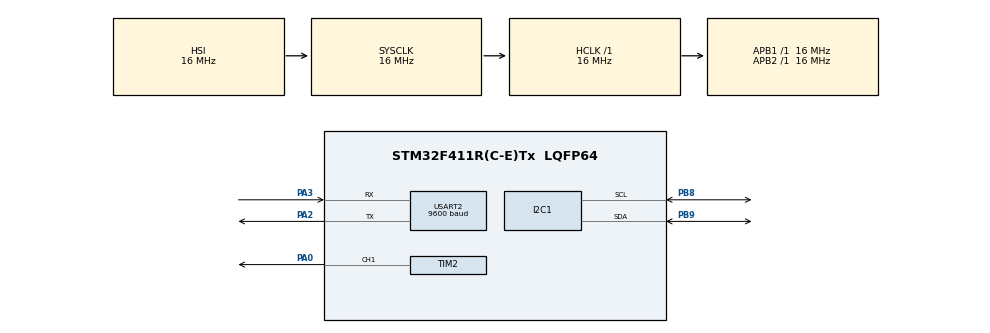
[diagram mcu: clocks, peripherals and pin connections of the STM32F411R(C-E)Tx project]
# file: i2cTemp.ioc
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Mcu.Family=STM32F4
Mcu.Name=STM32F411R(C-E)Tx
Mcu.Package=LQFP64
NVIC.PriorityGroup=NVIC_PRIORITYGROUP_4
PA0-WKUP.Signal=S_TIM2_CH1_ETR
PA2.Mode=Asynchronous
PA2.Signal=USART2_TX
PA3.Mode=Asynchronous
PA3.Signal=USART2_RX
PB8.Mode=I2C
PB8.Signal=I2C1_SCL
PB9.Mode=I2C
PB9.Signal=I2C1_SDA
ProjectManager.HeapSize=0x200
ProjectManager.StackSize=0x400
ProjectManager.TargetToolchain=STM32CubeIDE
RCC.AHBFreq_Value=16000000
RCC.APB1Freq_Value=16000000
RCC.APB2Freq_Value=16000000
RCC.CortexFreq_Value=16000000
RCC.HSE_VALUE=25000000
RCC.HSI_VALUE=16000000
RCC.LSE_VALUE=32768
RCC.SYSCLKFreq_VALUE=16000000
RCC.VCOOutputFreq_Value=192000000
SH.S_TIM2_CH1_ETR.0=TIM2_CH1,PWM Generation1 CH1
TIM2.Channel-PWM\ Generation1\ CH1=TIM_CHANNEL_1
TIM2.Period=999
TIM2.Prescaler=499
USART2.BaudRate=9600
USART2.VirtualMode=VM_ASYNC
board=custom

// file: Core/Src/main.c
/* USER CODE BEGIN Header */
/**
  ******************************************************************************
  * @file           : main.c
  * @brief          : Main program body
  ******************************************************************************
  * @attention
  *
  * Copyright (c) 2022 STMicroelectronics.
  * All rights reserved.
  *
  * This software is licensed under terms that can be found in the LICENSE file
  * in the root directory of this software component.
  * If no LICENSE file comes with this software, it is provided AS-IS.
  *
  ******************************************************************************
  */
/* USER CODE END Header */
#include "main.h"

/* USER CODE BEGIN Includes */
#include <string.h>
#include <stdio.h>
/* USER CODE END Includes */

 I2C_HandleTypeDef hi2c1;

TIM_HandleTypeDef htim2;

UART_HandleTypeDef huart2;

/* USER CODE BEGIN PV */
static const uint8_t TMP102_DIR =0x48<<1; // Address Slave
static const uint8_t REGISTRO_TEMP=0x00;  // Address Measurements

int16_t raw;			// raw data from temperature sensor TMP102
uint8_t buffert[12]; 	// data buffer

float room_temp=27; 		// ambient temperature
float temp_c; 				// temperature readings
float tmp_past=0 ; 			// previous temperature reading
float rest; 				// temperature difference
int i = 0; 					// Counter Switch Case
int div; 					// if conditions
char msg[20]; 				// used for serial output measurement readings

/* USER CODE END PV */

void SystemClock_Config(void);
static void MX_GPIO_Init(void);
static void MX_I2C1_Init(void);
static void MX_TIM2_Init(void);
static void MX_USART2_UART_Init(void);

int main(void)
{

  /* MCU Configuration--------------------------------------------------------*/

  /* Reset of all peripherals, Initializes the Flash interface and the Systick. */
  HAL_Init();

  /* Configure the system clock */
  SystemClock_Config();

  /* Initialize all configured peripherals */
  MX_GPIO_Init();
  MX_I2C1_Init();
  MX_TIM2_Init();
  MX_USART2_UART_Init();
  /* USER CODE BEGIN 2 */
  uint16_t dutyCycle = HAL_TIM_ReadCapturedValue(&htim2, TIM_CHANNEL_1);
  /* USER CODE END 2 */

  /* Infinite loop */
  /* USER CODE BEGIN WHILE */
  while (1)
  {

	  // Master-Slave instruction read
	  buffert[0]=REGISTRO_TEMP;
	  HAL_I2C_Master_Transmit(&hi2c1, TMP102_DIR, buffert, 1, HAL_MAX_DELAY);
	  //Reading of 2 bytes of the Temperature Register
	  HAL_I2C_Master_Receive(&hi2c1, TMP102_DIR, buffert, 2, HAL_MAX_DELAY);

	  //byte combination or merging
	  raw = ((int16_t)buffert[0] << 4) | (buffert[1] >> 4);

	  //Conversion with factor of 2 taking into account negative values
	  if (raw > 0x7FF){
		  raw |= 0xF000;
	  }
	  //Celsius conversion
	  temp_c = raw * 0.0625;

	  //Converting TEMP to decimal format
	  rest = temp_c - room_temp;
	  tmp_past=temp_c;
	  temp_c *= 100;

	  sprintf((char*)buffert, "%u.%02u C\r\n", ((unsigned int)temp_c /100), ((unsigned int)temp_c % 100));

	  // UART Temperature data transmission
	  HAL_UART_Transmit(&huart2,buffert,strlen((char*)buffert),HAL_MAX_DELAY);

	  // Increment condition
	  div=rest/2;
	  if(rest >= 2){
		  i=div;
	  }
	  //Decrement condition
	  if(rest<=-2){
		  --i;
	  }

	  dutyCycle = __HAL_TIM_GET_AUTORELOAD(&htim2);

	  switch(i){
		case 0:
			__HAL_TIM_SET_COMPARE(&htim2, TIM_CHANNEL_1, dutyCycle*0);
		break;
		case 1:
			__HAL_TIM_SET_COMPARE(&htim2, TIM_CHANNEL_1, dutyCycle*0.1);
		break;
		case 2:
			__HAL_TIM_SET_COMPARE(&htim2, TIM_CHANNEL_1, dutyCycle*0.2);
		break;
		case 3:
			__HAL_TIM_SET_COMPARE(&htim2, TIM_CHANNEL_1, dutyCycle*0.3);
		break;
		case 4:
			__HAL_TIM_SET_COMPARE(&htim2, TIM_CHANNEL_1, dutyCycle*0.4);
		break;
		case 5:
			__HAL_TIM_SET_COMPARE(&htim2, TIM_CHANNEL_1, dutyCycle*0.5);
		break;
		case 6:
			__HAL_TIM_SET_COMPARE(&htim2, TIM_CHANNEL_1, dutyCycle*0.6);
		break;
		case 7:
			__HAL_TIM_SET_COMPARE(&htim2, TIM_CHANNEL_1, dutyCycle*0.7);
		break;
		case 8:
			__HAL_TIM_SET_COMPARE(&htim2, TIM_CHANNEL_1, dutyCycle*0.8);
		break;
		case 9:
			__HAL_TIM_SET_COMPARE(&htim2, TIM_CHANNEL_1, dutyCycle*0.9);
		break;
		case 10:
			__HAL_TIM_SET_COMPARE(&htim2, TIM_CHANNEL_1, dutyCycle);
		break;
	}
	sprintf(msg, "%hu\r\n", i);
	HAL_UART_Transmit(&huart2, (uint8_t*)msg, strlen(msg), HAL_MAX_DELAY);

	HAL_Delay(500);

    /* USER CODE END WHILE */

  }
}

void SystemClock_Config(void)
{
  RCC_OscInitTypeDef RCC_OscInitStruct = {0};
  RCC_ClkInitTypeDef RCC_ClkInitStruct = {0};

  /** Configure the main internal regulator output voltage
  */
  __HAL_RCC_PWR_CLK_ENABLE();
  __HAL_PWR_VOLTAGESCALING_CONFIG(PWR_REGULATOR_VOLTAGE_SCALE1);

  /** Initializes the RCC Oscillators according to the specified parameters
  * in the RCC_OscInitTypeDef structure.
  */
  RCC_OscInitStruct.OscillatorType = RCC_OSCILLATORTYPE_HSI;
  RCC_OscInitStruct.HSIState = RCC_HSI_ON;
  RCC_OscInitStruct.HSICalibrationValue = RCC_HSICALIBRATION_DEFAULT;
  RCC_OscInitStruct.PLL.PLLState = RCC_PLL_NONE;
  if (HAL_RCC_OscConfig(&RCC_OscInitStruct) != HAL_OK)
  {
    Error_Handler();
  }

  /** Initializes the CPU, AHB and APB buses clocks
  */
  RCC_ClkInitStruct.ClockType = RCC_CLOCKTYPE_HCLK|RCC_CLOCKTYPE_SYSCLK
                              |RCC_CLOCKTYPE_PCLK1|RCC_CLOCKTYPE_PCLK2;
  RCC_ClkInitStruct.SYSCLKSource = RCC_SYSCLKSOURCE_HSI;
  RCC_ClkInitStruct.AHBCLKDivider = RCC_SYSCLK_DIV1;
  RCC_ClkInitStruct.APB1CLKDivider = RCC_HCLK_DIV1;
  RCC_ClkInitStruct.APB2CLKDivider = RCC_HCLK_DIV1;

  if (HAL_RCC_ClockConfig(&RCC_ClkInitStruct, FLASH_LATENCY_0) != HAL_OK)
  {
    Error_Handler();
  }
}

static void MX_I2C1_Init(void)
{

  hi2c1.Instance = I2C1;
  hi2c1.Init.ClockSpeed = 100000;
  hi2c1.Init.DutyCycle = I2C_DUTYCYCLE_2;
  hi2c1.Init.OwnAddress1 = 0;
  hi2c1.Init.AddressingMode = I2C_ADDRESSINGMODE_7BIT;
  hi2c1.Init.DualAddressMode = I2C_DUALADDRESS_DISABLE;
  hi2c1.Init.OwnAddress2 = 0;
  hi2c1.Init.GeneralCallMode = I2C_GENERALCALL_DISABLE;
  hi2c1.Init.NoStretchMode = I2C_NOSTRETCH_DISABLE;
  if (HAL_I2C_Init(&hi2c1) != HAL_OK)
  {
    Error_Handler();
  }

}

static void MX_TIM2_Init(void)
{

  TIM_MasterConfigTypeDef sMasterConfig = {0};
  TIM_OC_InitTypeDef sConfigOC = {0};

  htim2.Instance = TIM2;
  htim2.Init.Prescaler = 499;
  htim2.Init.CounterMode = TIM_COUNTERMODE_UP;
  htim2.Init.Period = 999;
  htim2.Init.ClockDivision = TIM_CLOCKDIVISION_DIV1;
  htim2.Init.AutoReloadPreload = TIM_AUTORELOAD_PRELOAD_DISABLE;
  if (HAL_TIM_PWM_Init(&htim2) != HAL_OK)
  {
    Error_Handler();
  }
  sMasterConfig.MasterOutputTrigger = TIM_TRGO_RESET;
  sMasterConfig.MasterSlaveMode = TIM_MASTERSLAVEMODE_DISABLE;
  if (HAL_TIMEx_MasterConfigSynchronization(&htim2, &sMasterConfig) != HAL_OK)
  {
    Error_Handler();
  }
  sConfigOC.OCMode = TIM_OCMODE_PWM1;
  sConfigOC.Pulse = 0;
  sConfigOC.OCPolarity = TIM_OCPOLARITY_HIGH;
  sConfigOC.OCFastMode = TIM_OCFAST_DISABLE;
  if (HAL_TIM_PWM_ConfigChannel(&htim2, &sConfigOC, TIM_CHANNEL_1) != HAL_OK)
  {
    Error_Handler();
  }
  HAL_TIM_MspPostInit(&htim2);

}

static void MX_USART2_UART_Init(void)
{

  huart2.Instance = USART2;
  huart2.Init.BaudRate = 9600;
  huart2.Init.WordLength = UART_WORDLENGTH_8B;
  huart2.Init.StopBits = UART_STOPBITS_1;
  huart2.Init.Parity = UART_PARITY_NONE;
  huart2.Init.Mode = UART_MODE_TX_RX;
  huart2.Init.HwFlowCtl = UART_HWCONTROL_NONE;
  huart2.Init.OverSampling = UART_OVERSAMPLING_16;
  if (HAL_UART_Init(&huart2) != HAL_OK)
  {
    Error_Handler();
  }

}

static void MX_GPIO_Init(void)
{

  /* GPIO Ports Clock Enable */
  __HAL_RCC_GPIOA_CLK_ENABLE();
  __HAL_RCC_GPIOB_CLK_ENABLE();

}

void Error_Handler(void)
{
  __disable_irq();
  while (1)
  {
  }
}
